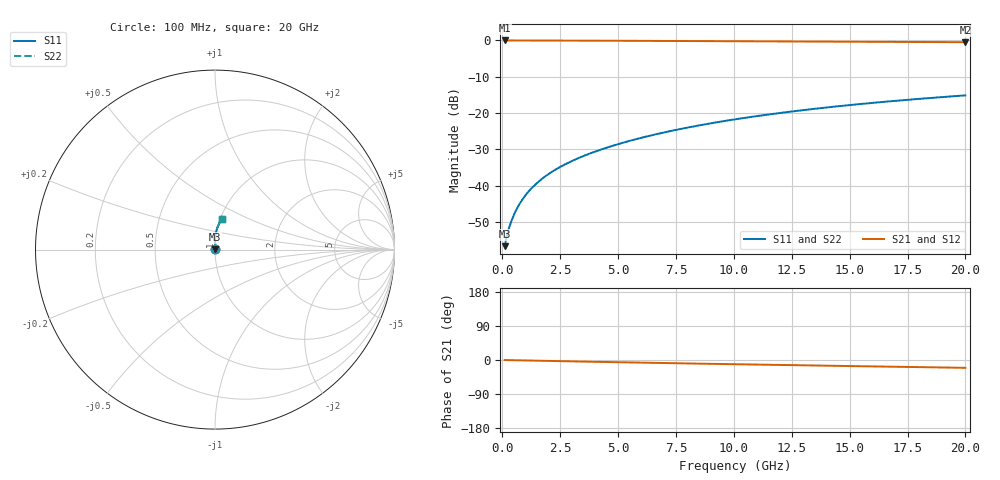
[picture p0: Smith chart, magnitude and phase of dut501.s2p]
! Touchstone file exported from HFSS 2024.1.0
!  File:  C:/UserFiles/LocalFiles/RDL_TSV_Batchsim/temp_RDL_top_501_1779679056.aedt
!  Generated:  11:19:52 AM May 25, 2026
!  Design:  RDL_top
!  Project:  temp_RDL_top_501_1779679056
!  Setup:  Setup1
!  Solution:  Sweep
! Variables:
!  dtsv = 10.80580581um
!  hbump = 3um
!  htsv = 97.28um
!  ldown = 100um
!  lrdl = 313.71um
!  p = 40
!  p1 = 41.2um
!  rhole = 1um
!  t = 450um
!  tdown = 3.915915916um
!  trdl = 4.69um
!  wdown = 15.38538539um
!  wrdl = 23.2um
# GHz S MA R 50.000000
! Terminal data exported
! Port[1] = Box2_T1
! Port[2] = Box2_T2
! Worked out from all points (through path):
!   200 points, 100 MHz to 20 GHz, reference 50 ohm
!   highest |S21| = -0.01 dB at 100 MHz (marker M1); lowest = -0.5 dB at 20 GHz (marker M2)
!   group delay of S21, straight-line fit = 2.83 ps
!   lowest |S11| = -56.7 dB at 100 MHz (marker M3), VSWR 1.00, Z = 50.1 + j0.084 ohm
!   |S11| at or under -10 dB: start of sweep to end of sweep
!   |S22| runs from -56.7 to -15.1 dB; largest |S21 - S12| = 3.4e-15
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0.1  0.001466 34.9  0.9988 -0.1  0.9988 -0.1  0.001466 34.9
! Gamma 0 0 0 0
! Port Impedance 50 0 50 0
0.2  0.002048 50.8  0.9987 -0.3  0.9987 -0.3  0.002048 50.8
0.3  0.002662 59.5  0.9986 -0.4  0.9986 -0.4  0.002662 59.5
0.4  0.003295 65.2  0.9985 -0.5  0.9985 -0.5  0.003295 65.2
0.5  0.003946 69.2  0.9984 -0.6  0.9984 -0.6  0.003946 69.2
0.6  0.004611 72.3  0.9983 -0.7  0.9983 -0.7  0.004611 72.3
0.8  0.005971 76.4  0.9982 -1.0  0.9982 -1.0  0.005971 76.4
1.1  0.008057 80.1  0.9979 -1.3  0.9979 -1.3  0.008057 80.1
1.3  0.009465 81.7  0.9977 -1.6  0.9977 -1.6  0.009465 81.7
1.6  0.0116 83.5  0.9973 -1.9  0.9973 -1.9  0.0116 83.5
2.1  0.01519 85.4  0.9966 -2.5  0.9966 -2.5  0.01519 85.4
2.7  0.01956 87.0  0.9954 -3.3  0.9954 -3.3  0.01956 87.0
3.5  0.02554 88.3  0.9936 -4.2  0.9936 -4.2  0.02554 88.3
4.2  0.03092 89.1  0.9918 -5.0  0.9918 -5.0  0.03092 89.1
5  0.03728 89.6  0.9895 -5.9  0.9895 -5.9  0.03728 89.6
6.8  0.0524 89.9  0.984 -7.8  0.984 -7.8  0.0524 89.9
8.4  0.06664 89.4  0.9789 -9.5  0.9789 -9.5  0.06663 89.4
10.1  0.08232 88.2  0.9736 -11.2  0.9736 -11.2  0.08232 88.2
11.7  0.09738 86.8  0.9688 -12.8  0.9688 -12.8  0.09738 86.8
13.4  0.1135 85.0  0.9638 -14.4  0.9638 -14.4  0.1135 85.0
16.7  0.1446 81.4  0.9544 -17.6  0.9544 -17.6  0.1446 81.4
20  0.1749 77.6  0.9453 -20.7  0.9453 -20.7  0.1749 77.6
